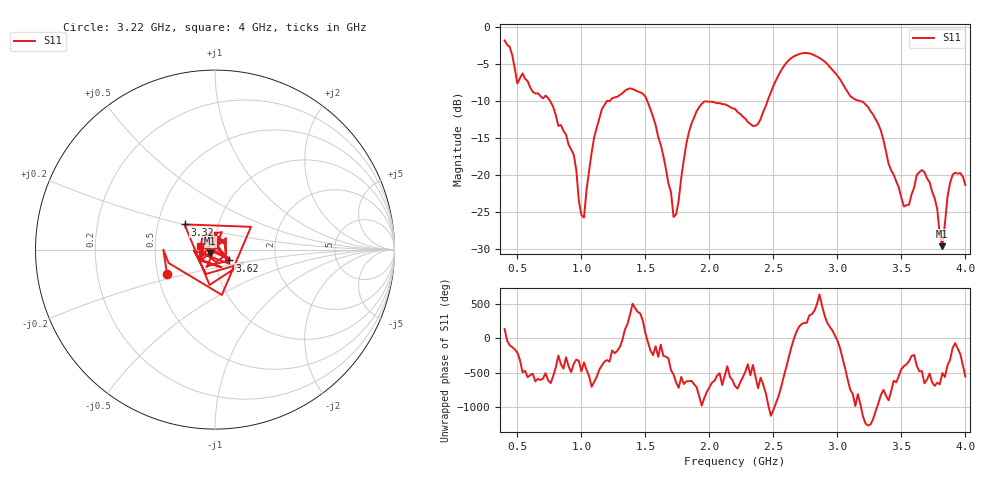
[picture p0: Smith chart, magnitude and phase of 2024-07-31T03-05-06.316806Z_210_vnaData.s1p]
!Created with skrf (http://scikit-rf.org).
# Hz S RI R 50.0
!freq ReS11 ImS11
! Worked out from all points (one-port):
!   181 points, 400 MHz to 4 GHz, reference 50 ohm
!   lowest |S11| = -29.6 dB at 3.82 GHz (marker M1), VSWR 1.07, Z = 47.4 - j1.89 ohm
!   |S11| at or under -10 dB: 755.1 MHz to 1.199 GHz (444.4 MHz wide, 45.5 % of centre); 1.514 GHz to 2.454 GHz (940.1 MHz wide, 47.4 % of centre); 3.175 GHz to end of sweep (the widest 3 of 4)
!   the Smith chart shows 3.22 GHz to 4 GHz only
!   S11 on the Smith chart (normalised r, x): 3.22 GHz: 0.56, -0.17; 3.32 GHz: 0.69, +0.20; 3.62 GHz: 1.17, -0.14; 4 GHz: 0.85, +0.03
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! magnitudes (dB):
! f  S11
! 400 MHz  -1.8
! 500 MHz  -7.6
! 740 MHz  -9.6
! 860 MHz  -14.0
! 940 MHz  -17.2
! 1.02 GHz  -25.7
! 1.1 GHz  -14.9
! 1.16 GHz  -11.1
! 1.3 GHz  -9.2
! 1.5 GHz  -9.4
! 1.62 GHz  -15.9
! 1.72 GHz  -25.6
! 1.76 GHz  -23.4
! 1.82 GHz  -15.7
! 1.9 GHz  -11.4
! 2.2 GHz  -11.1
! 2.38 GHz  -13.1
! 2.66 GHz  -4.0
! 2.88 GHz  -4.4
! 3.1 GHz  -9.3
! 3.22 GHz  -10.5
! 3.32 GHz  -13.1
! 3.56 GHz  -24.0
! 3.62 GHz  -20.0
! 3.72 GHz  -20.9
! 3.82 GHz  -29.6
! 3.9 GHz  -20.0
! 4 GHz  -21.3
